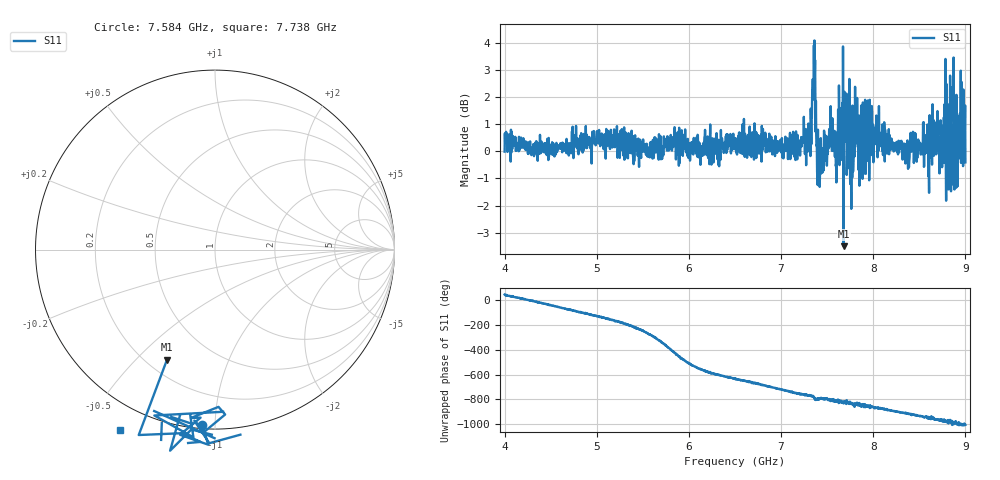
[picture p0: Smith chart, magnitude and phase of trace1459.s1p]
! Created with skrf 1.8.0 (http://scikit-rf.org).
# Hz S RI R 50.0
!freq ReS11 ImS11
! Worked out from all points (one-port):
!   1601 points, 4 GHz to 9 GHz, reference 50 ohm
!   lowest |S11| = -3.5 dB at 7.678 GHz (marker M1), VSWR 5.04, Z = 13.9 - j30.9 ohm
!   |S11| at or under -10 dB: nowhere
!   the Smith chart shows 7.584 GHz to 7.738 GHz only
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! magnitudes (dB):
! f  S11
! 4 GHz  0.0
! 4.625 GHz  0.0
! 5.016 GHz  0.6
! 5.25 GHz  -0.2
! 5.875 GHz  -0.1
! 6.5 GHz  0.3
! 7.125 GHz  0.2
! 7.294 GHz  0.4
! 7.356 GHz  3.9
! 7.409 GHz  0.0
! 7.534 GHz  1.5
! 7.591 GHz  0.4
! 7.65 GHz  1.4
! 7.659 GHz  -0.2
! 7.678 GHz  -3.5
! 7.75 GHz  -1.2
! 7.769 GHz  0.1
! 7.822 GHz  0.4
! 7.875 GHz  -0.1
! 7.928 GHz  1.7
! 8.375 GHz  -0.2
! 8.441 GHz  -0.4
! 8.725 GHz  0.3
! 8.819 GHz  -0.1
! 8.875 GHz  1.2
! 8.956 GHz  0.3
! 8.972 GHz  0.5
! 9 GHz  -0.4
